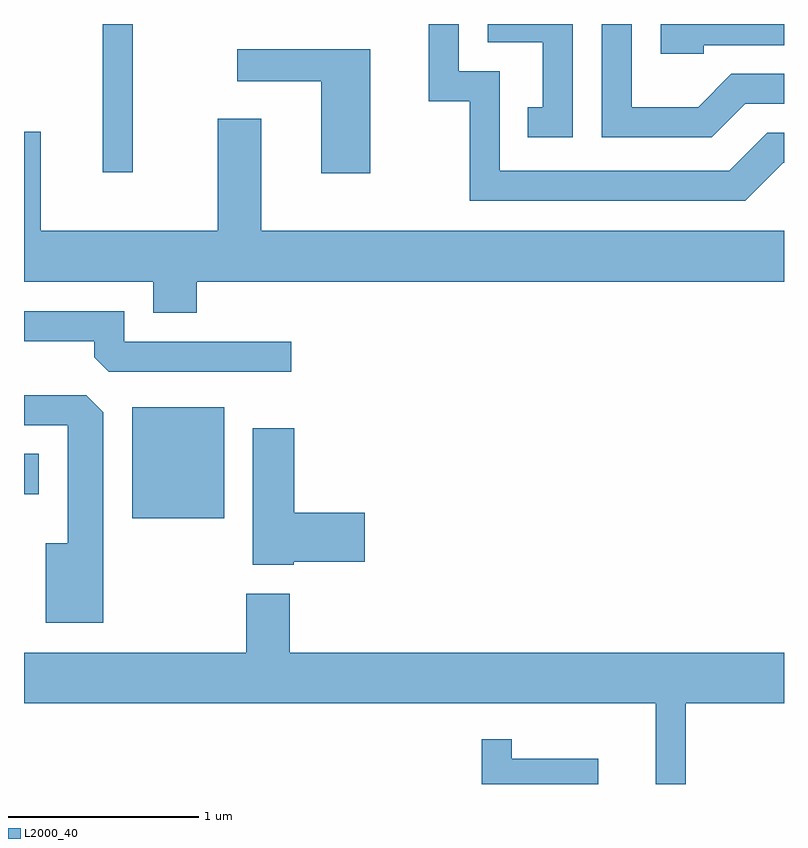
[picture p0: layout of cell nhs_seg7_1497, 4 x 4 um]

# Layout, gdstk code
import gdstk
lib = gdstk.Library(unit=1e-6, precision=1e-09)
def R(c, l, rs):  # rectangles x0, y0, x1, y1
    for r in rs: c.add(gdstk.rectangle(r[:2], r[2:], *l))
def P(c, l, *ps):  # polygons
    for p in ps: c.add(gdstk.Polygon(p, *l))
L2000_40 = (2000, 40)

nhs_seg7_1497 = lib.new_cell('nhs_seg7_1497')
R(nhs_seg7_1497, L2000_40, [(230.181,1799.651,230.664,1800.234), (229.611,1799.776,229.689,1799.989), (230.026,1801.473,230.184,1802.252)])
P(nhs_seg7_1497, L2000_40, [(233.607,1801.521),(233.611,1801.521),(233.611,1801.679),(233.524,1801.679),(233.324,1801.479),(232.114,1801.479),(232.114,1802.004),(231.899,1802.004),(231.899,1802.252),(231.741,1802.252),(231.741,1801.846),(231.956,1801.846),(231.956,1801.321),(233.407,1801.321)],
  [(233.189,1802.141),(233.611,1802.141),(233.611,1802.252),(232.961,1802.252),(232.961,1802.096),(233.189,1802.096)],
  [(232.499,1802.252),(232.051,1802.252),(232.051,1802.156),(232.341,1802.156),(232.341,1801.814),(232.263,1801.814),(232.263,1801.656),(232.499,1801.656)],
  [(233.407,1801.831),(233.611,1801.831),(233.611,1801.989),(233.334,1801.989),(233.159,1801.814),(232.809,1801.814),(232.809,1802.252),(232.651,1802.252),(232.651,1801.656),(233.232,1801.656)],
  [(231.434,1802.119),(230.733,1802.119),(230.733,1801.951),(231.176,1801.951),(231.176,1801.466),(231.434,1801.466)],
  [(230.519,1800.896),(233.611,1800.896),(233.611,1801.164),(230.859,1801.164),(230.859,1801.754),(230.631,1801.754),(230.631,1801.164),(229.699,1801.164),(229.699,1801.684),(229.611,1801.684),(229.611,1800.896),(230.291,1800.896),(230.291,1800.731),(230.519,1800.731)],
  [(231.018,1800.579),(230.139,1800.579),(230.139,1800.739),(229.611,1800.739),(229.611,1800.581),(229.981,1800.581),(229.981,1800.497),(230.057,1800.421),(231.018,1800.421)],
  [(230.029,1800.209),(229.939,1800.299),(229.611,1800.299),(229.611,1800.141),(229.841,1800.141),(229.841,1799.519),(229.726,1799.519),(229.726,1799.101),(230.029,1799.101)],
  [(231.03,1799.421),(231.404,1799.421),(231.404,1799.679),(231.034,1799.679),(231.034,1800.124),(230.816,1800.124),(230.816,1799.406),(231.03,1799.406)],
  [(233.094,1798.676),(233.611,1798.676),(233.611,1798.944),(231.009,1798.944),(231.009,1799.254),(230.781,1799.254),(230.781,1798.944),(229.611,1798.944),(229.611,1798.676),(232.936,1798.676),(232.936,1798.252),(233.094,1798.252)],
  [(232.634,1798.384),(232.179,1798.384),(232.179,1798.488),(232.021,1798.488),(232.021,1798.252),(232.634,1798.252)])

lib.write_gds('nhs_seg7_1497.gds')
